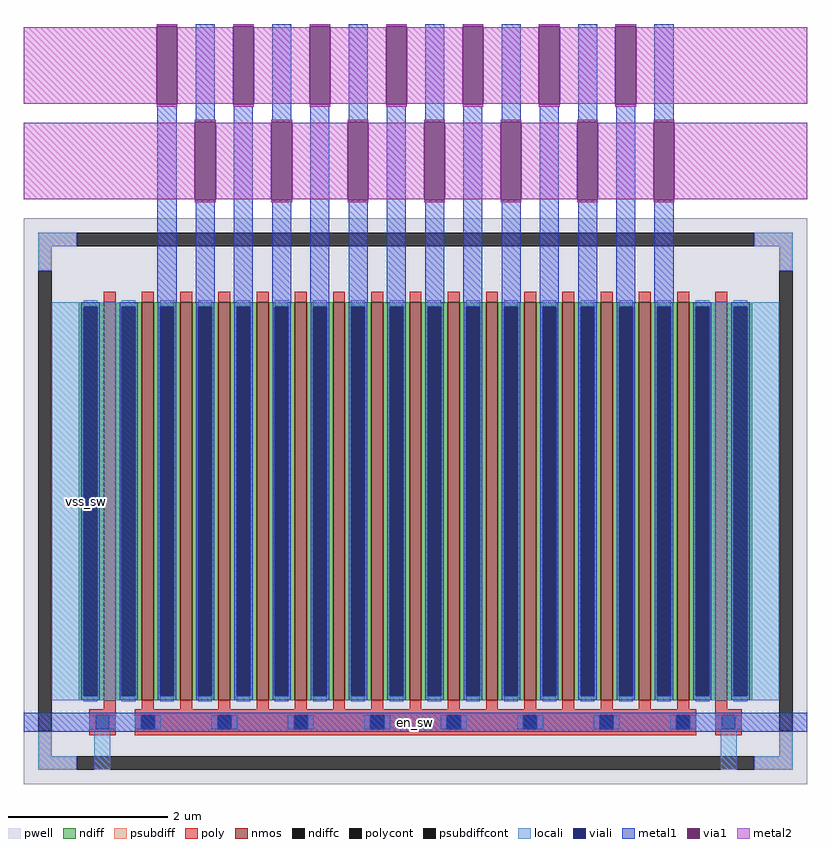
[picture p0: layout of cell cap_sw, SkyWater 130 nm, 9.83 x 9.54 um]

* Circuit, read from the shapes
.subckt cap_sw vss_sw en_sw
XM1 vss_sw vss_sw vss_sw vss_sw sky130_fd_pr__nfet_01v8 w=5 l=0.15 m=2
XM2 n1 en_sw vss_sw vss_sw sky130_fd_pr__nfet_01v8 w=5 l=0.15
XM3 n2 en_sw n1 vss_sw sky130_fd_pr__nfet_01v8 w=5 l=0.15 m=13
XM4 vss_sw en_sw n2 vss_sw sky130_fd_pr__nfet_01v8 w=5 l=0.15
.ends

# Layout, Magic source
magic
tech sky130A
magscale 1 2
<< locali >>
rect -61 170 149 1170
rect 1589 170 1765 1170
rect 46 -4 86 132
rect 1618 -4 1658 132
<< metal1 >>
rect 202 1862 254 1868
rect 202 1660 254 1666
rect 204 1170 252 1660
rect 300 1628 348 1868
rect 394 1862 446 1868
rect 394 1660 446 1666
rect 298 1622 350 1628
rect 298 1420 350 1426
rect 300 1170 348 1420
rect 396 1170 444 1660
rect 492 1628 540 1868
rect 586 1862 638 1868
rect 586 1660 638 1666
rect 490 1622 542 1628
rect 490 1420 542 1426
rect 492 1170 540 1420
rect 588 1170 636 1660
rect 684 1628 732 1868
rect 778 1862 830 1868
rect 778 1660 830 1666
rect 682 1622 734 1628
rect 682 1420 734 1426
rect 684 1170 732 1420
rect 780 1170 828 1660
rect 876 1628 924 1868
rect 970 1862 1022 1868
rect 970 1660 1022 1666
rect 874 1622 926 1628
rect 874 1420 926 1426
rect 876 1170 924 1420
rect 972 1170 1020 1660
rect 1068 1628 1116 1868
rect 1162 1862 1214 1868
rect 1162 1660 1214 1666
rect 1066 1622 1118 1628
rect 1066 1420 1118 1426
rect 1068 1170 1116 1420
rect 1164 1170 1212 1660
rect 1260 1628 1308 1868
rect 1354 1862 1406 1868
rect 1354 1660 1406 1666
rect 1258 1622 1310 1628
rect 1258 1420 1310 1426
rect 1260 1170 1308 1420
rect 1356 1170 1404 1660
rect 1452 1628 1500 1868
rect 1450 1622 1502 1628
rect 1450 1420 1502 1426
rect 1452 1170 1500 1420
rect -131 91 1835 139
<< via1 >>
rect 202 1666 254 1862
rect 394 1666 446 1862
rect 298 1426 350 1622
rect 586 1666 638 1862
rect 490 1426 542 1622
rect 778 1666 830 1862
rect 682 1426 734 1622
rect 970 1666 1022 1862
rect 874 1426 926 1622
rect 1162 1666 1214 1862
rect 1066 1426 1118 1622
rect 1354 1666 1406 1862
rect 1258 1426 1310 1622
rect 1450 1426 1502 1622
<< metal2 >>
rect 202 1862 254 1868
rect -131 1668 202 1860
rect 394 1862 446 1868
rect 254 1668 394 1860
rect 202 1660 254 1666
rect 586 1862 638 1868
rect 446 1668 586 1860
rect 394 1660 446 1666
rect 778 1862 830 1868
rect 638 1668 778 1860
rect 586 1660 638 1666
rect 970 1862 1022 1868
rect 830 1668 970 1860
rect 778 1660 830 1666
rect 1162 1862 1214 1868
rect 1022 1668 1162 1860
rect 970 1660 1022 1666
rect 1354 1862 1406 1868
rect 1214 1668 1354 1860
rect 1162 1660 1214 1666
rect 1406 1668 1835 1860
rect 1354 1660 1406 1666
rect 298 1622 350 1628
rect -131 1428 298 1620
rect 490 1622 542 1628
rect 350 1428 490 1620
rect 298 1420 350 1426
rect 682 1622 734 1628
rect 542 1428 682 1620
rect 490 1420 542 1426
rect 874 1622 926 1628
rect 734 1428 874 1620
rect 682 1420 734 1426
rect 1066 1622 1118 1628
rect 926 1428 1066 1620
rect 874 1420 926 1426
rect 1258 1622 1310 1628
rect 1118 1428 1258 1620
rect 1066 1420 1118 1426
rect 1450 1622 1502 1628
rect 1310 1428 1450 1620
rect 1258 1420 1310 1426
rect 1502 1428 1835 1620
rect 1450 1420 1502 1426
use sky130_fd_pr__nfet_01v8_YN9FL4  sky130_fd_pr__nfet_01v8_UDPJLN_0
transform 1 0 852 0 1 670
box -983 -710 983 710
<< labels >>
flabel locali -61 170 115 1170 0 FreeSans 240 0 0 0 vss_sw
port 0 nsew
flabel metal1 -131 91 1835 139 0 FreeSans 240 0 0 0 en_sw
port 1 nsew
<< end >>

# cell sky130_fd_pr__nfet_01v8_YN9FL4: kit device sky130_fd_pr__nfet_01v8, w 5 l 0.150 m 1 nf 17 diffcov 100 polycov 100 guard 1 glc 1 grc 1 gtc 1 gbc 1 tbcov 100 rlcov 100 topc 1 botc 1 poverlap 0 doverlap 1 lmin 0.15 wmin 0.42 compatible {sky130_fd_pr__nfet_01v8 sky130_fd_pr__nfet_01v8_lvt sky130_fd_bs_flash__special_sonosfet_star sky130_fd_pr__nfet_g5v0d10v5 sky130_fd_pr__nfet_05v0_nvt sky130_fd_pr__nfet_03v3_nvt} full_metal 1 viasrc 100 viadrn 100 viagate 100 viagb 0 viagr 0 viagl 0 viagt 0
